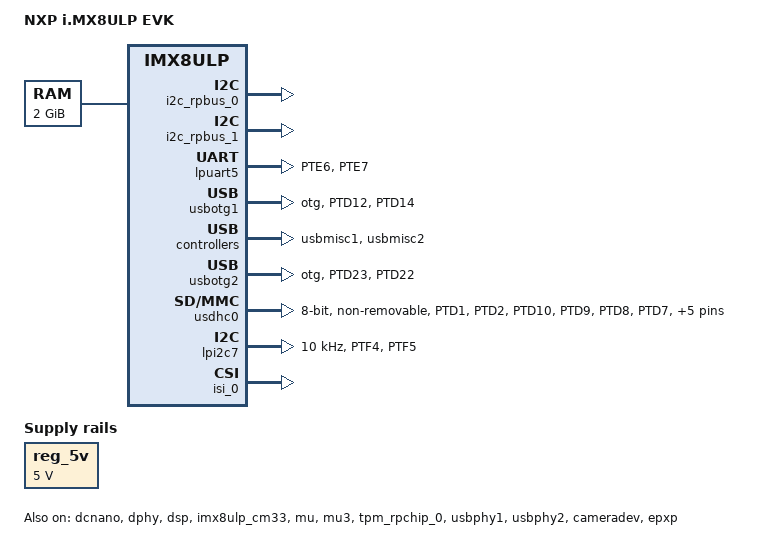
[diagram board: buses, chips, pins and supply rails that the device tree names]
// SPDX-License-Identifier: (GPL-2.0+ OR MIT)
/*
 * Copyright 2021 NXP
 */

/dts-v1/;

#include "../freescale/imx8ulp.dtsi"
#include "../freescale/imx8ulp-rpmsg.dtsi"
#include <dt-bindings/input/input.h>
#include <dt-bindings/pwm/pwm.h>

/ {
	model = "NXP i.MX8ULP EVK";
	compatible = "fsl,imx8ulp-evk", "fsl,imx8ulp";

	chosen {
		stdout-path = &lpuart5;
	};

	memory@40000000 {
		device_type = "memory";
		reg = <0x0 0x80000000 0 0x80000000>;
	};

	reserved-memory {
		#address-cells = <2>;
		#size-cells = <2>;
		ranges;

		linux,cma {
			compatible = "shared-dma-pool";
			reusable;
			size = <0 0x28000000>;
			linux,cma-default;
		};

		rsc_table: rsc-table@1fff8000{
			reg = <0 0x1fff8000 0 0x1000>;
			no-map;
		};

		dsp_reserved: dsp_reserved@8e000000 {
			reg = <0 0x8e000000 0 0x1000000>;
			no-map;
		};
		dsp_reserved_heap: dsp_reserved_heap {
			reg = <0 0x8f000000 0 0xef0000>;
			no-map;
		};
		dsp_vdev0vring0: vdev0vring0@8fef0000 {
			reg = <0 0x8fef0000 0 0x8000>;
			no-map;
		};
		dsp_vdev0vring1: vdev0vring1@8fef8000 {
			reg = <0 0x8fef8000 0 0x8000>;
			no-map;
		};
		dsp_vdev0buffer: vdev0buffer@8ff00000 {
			compatible = "shared-dma-pool";
			reg = <0 0x8ff00000 0 0x100000>;
			no-map;
		};

		vdev0vring0: vdev0vring0@aff00000 {
			reg = <0 0xaff00000 0 0x8000>;
			no-map;
		};

		vdev0vring1: vdev0vring1@aff08000 {
			reg = <0 0xaff08000 0 0x8000>;
			no-map;
		};

		vdev1vring0: vdev1vring0@aff10000 {
			reg = <0 0xaff10000 0 0x8000>;
			no-map;
		};

		vdev1vring1: vdev1vring1@aff18000 {
			reg = <0 0xaff18000 0 0x8000>;
			no-map;
		};

		vdevbuffer: vdevbuffer@a8400000 {
			compatible = "shared-dma-pool";
			reg = <0 0xa8400000 0 0x100000>;
			no-map;
		};

		audio_reserved: audio@a8500000 {
			compatible = "shared-dma-pool";
			no-map;
			reg = <0 0xa8500000 0 0x100000>;
		};

		m33_reserved: m33_noncacheable_section@a8600000 {
			no-map;
			reg = <0 0xa8600000 0 0x1000000>;
		};
	};

	reg_5v: regulator-5v {
		compatible = "regulator-fixed";
		regulator-name = "5V";
		regulator-min-microvolt = <5000000>;
		regulator-max-microvolt = <5000000>;
		regulator-always-on;
	};


};

&dcnano {
	status = "okay";
};

&dphy {
	status = "okay";
};

&dsp {
	assigned-clocks = <&cgc2 IMX8ULP_CLK_HIFI_SEL>;
	assigned-clock-parents = <&cgc2 IMX8ULP_CLK_PLL4>;
	memory-region = <&dsp_vdev0buffer>, <&dsp_vdev0vring0>,
			<&dsp_vdev0vring1>, <&dsp_reserved>;
	status = "okay";
};

&i2c_rpbus_0 {
	#address-cells = <1>;
	#size-cells = <0>;
	status = "okay";
};

&i2c_rpbus_1 {
	#address-cells = <1>;
	#size-cells = <0>;
	status = "okay";
};

&imx8ulp_cm33 {
	ipc-only;
	rsc-da=<0x1fff8000>;
	mbox-names = "tx", "rx", "rxdb";
	mboxes = <&mu 0 1
			&mu 1 1
			&mu 3 1>;
	memory-region = <&vdevbuffer>, <&vdev0vring0>, <&vdev0vring1>,
			<&vdev1vring0>, <&vdev1vring1>, <&rsc_table>;
	status = "okay";
};

&lpuart5 {
	/* console */
	pinctrl-names = "default", "sleep";
	pinctrl-0 = <&pinctrl_lpuart5>;
	pinctrl-1 = <&pinctrl_lpuart5>;
	status = "okay";
};

&mu {
	status = "okay";
};

&mu3 {
	status = "okay";
};

&tpm_rpchip_0 {
	status = "okay";
};

&usbotg1 {
	pinctrl-names = "default", "sleep";
	pinctrl-0 = <&pinctrl_otgid1>;
	pinctrl-1 = <&pinctrl_otgid1>;
	dr_mode = "otg";
	hnp-disable;
	srp-disable;
	adp-disable;
	over-current-active-low;
	status = "okay";
};

&usbphy1 {
	status = "okay";
};

&usbmisc1 {
	status = "okay";
};

&usbotg2 {
	pinctrl-names = "default", "sleep";
	pinctrl-0 = <&pinctrl_otgid2>;
	pinctrl-1 = <&pinctrl_otgid2>;
	dr_mode = "otg";
	hnp-disable;
	srp-disable;
	adp-disable;
	over-current-active-low;
	status = "okay";
};

&usbphy2 {
	status = "okay";
};

&usbmisc2 {
	status = "okay";
};

&usdhc0 {
	pinctrl-names = "default", "state_100mhz", "state_200mhz", "sleep";
	pinctrl-0 = <&pinctrl_usdhc0>;
	pinctrl-1 = <&pinctrl_usdhc0>;
	pinctrl-2 = <&pinctrl_usdhc0>;
	pinctrl-3 = <&pinctrl_usdhc0>;
	non-removable;
	bus-width = <8>;
	status = "okay";
};

&lpi2c7 {
	#address-cells = <1>;
	#size-cells = <0>;
	clock-frequency = <10000>;
	pinctrl-names = "default", "sleep";
	pinctrl-0 = <&pinctrl_lpi2c7>;
	pinctrl-1 = <&pinctrl_lpi2c7>;
	status = "okay";
};

&iomuxc1 {

	pinctrl_lpuart5: lpuart5grp {
		fsl,pins = <
			MX8ULP_PAD_PTE6__LPUART5_TX	0x3
			MX8ULP_PAD_PTE7__LPUART5_RX	0x3
		>;
	};

	 pinctrl_lpi2c7: lpi2c7grp {
		fsl,pins = <
			MX8ULP_PAD_PTF4__LPI2C7_SCL 0x20
			MX8ULP_PAD_PTF5__LPI2C7_SDA 0x20
		>;
	};

	pinctrl_otgid1: usb1grp {
		fsl,pins = <
			MX8ULP_PAD_PTD12__USB0_ID	0x10003
			MX8ULP_PAD_PTD14__USB0_OC	0x10003
		>;
	};

	pinctrl_otgid2: usb2grp {
		fsl,pins = <
			MX8ULP_PAD_PTD23__USB1_ID	0x10003
			MX8ULP_PAD_PTD22__USB1_OC	0x10003
		>;
	};

	pinctrl_usdhc0: usdhc0grp {
		fsl,pins = <
			MX8ULP_PAD_PTD1__SDHC0_CMD	0x3
			MX8ULP_PAD_PTD2__SDHC0_CLK	0x10002
			MX8ULP_PAD_PTD10__SDHC0_D0	0x3
			MX8ULP_PAD_PTD9__SDHC0_D1	0x3
			MX8ULP_PAD_PTD8__SDHC0_D2	0x3
			MX8ULP_PAD_PTD7__SDHC0_D3	0x3
			MX8ULP_PAD_PTD6__SDHC0_D4	0x3
			MX8ULP_PAD_PTD5__SDHC0_D5	0x3
			MX8ULP_PAD_PTD4__SDHC0_D6	0x3
			MX8ULP_PAD_PTD3__SDHC0_D7	0x3
			MX8ULP_PAD_PTD11__SDHC0_DQS	0x10002
		>;
	};
};

&cameradev {
	status = "okay";
};

&isi_0 {
	status = "okay";

	cap_device {
		status = "okay";
	};
};

&mipi_csi0 {
	#address-cells = <1>;
	#size-cells = <0>;
};

&epxp {
	status = "okay";
};
